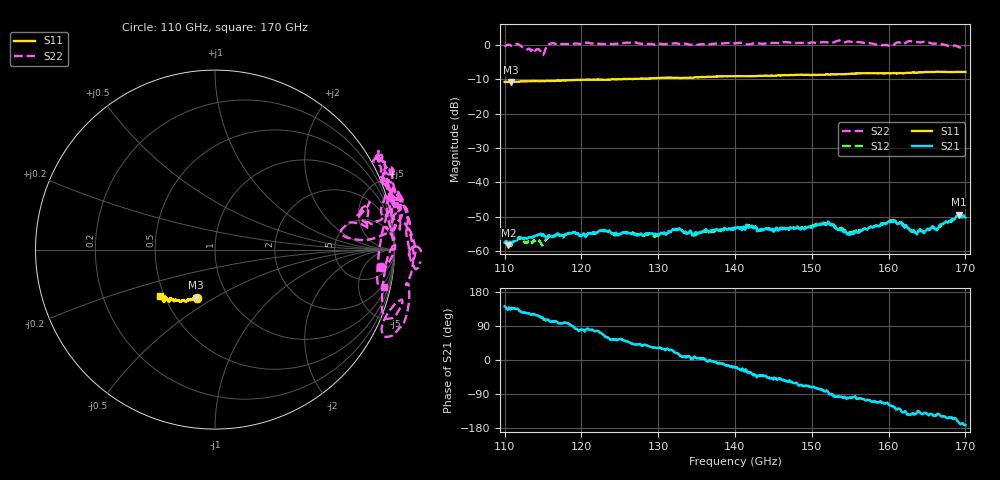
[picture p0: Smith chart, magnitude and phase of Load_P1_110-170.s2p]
!Keysight Technologies,N5247B,MY61256062,A.16.20.04
!Date: Wednesday, November 26, 2025 05:16:10
!Correction: S11(C  2-Port  )
!S21(C  2-Port  )
!S12(C  2-Port  )
!S22(C  2-Port  )
!S2P File: Measurements: S11, S21, S12, S22:
# Hz S  dB  R 50
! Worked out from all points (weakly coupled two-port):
!   1471 points, 110 GHz to 170 GHz, reference 50 ohm
!   highest |S21| = -49.37 dB at 169.1 GHz (marker M1); lowest = -58.3 dB at 110.5 GHz (marker M2)
!   lowest |S11| = -10.8 dB at 110.9 GHz (marker M3), VSWR 1.81, Z = 35.3 - j20.6 ohm
!   |S11| at or under -10 dB: start of sweep to 125.4 GHz
!   |S22| runs from -3.0 to 1.2 dB; largest |S21 - S12| = 0.0022
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1.1e11  -10.80 -110.8  -57.47 141.8  -57.89 109.6  -0.64 -5.9
1.104898e11  -10.78 -111.6  -58.25 134.9  -58.21 114.1  0.03 0.8
1.108571e11  -10.81 -111.9  -57.85 136.6  -58.53 114.6  -0.31 7.4
1.13551e11  -10.55 -112.9  -55.97 120.0  -57.54 109.6  -1.52 15.1
1.149388e11  -10.55 -113.4  -55.37 112.7  -58.27 93.6  -2.99 8.3
1.160408e11  -10.53 -113.6  -55.66 101.5  -55.63 86.8  0.39 9.5
1.2e11  -10.22 -115.3  -55.44 79.5  -55.32 68.7  0.19 19.4
1.275102e11  -9.89 -118.5  -55.30 41.1  -55.03 21.6  0.36 13.1
1.3e11  -9.67 -119.0  -55.21 32.9  -55.49 21.3  0.20 22.7
1.343673e11  -9.58 -121.8  -54.75 3.5  -55.03 -11.3  0.01 9.1
1.376327e11  -9.28 -123.7  -53.60 -7.8  -54.14 -13.1  0.33 29.0
1.4e11  -9.15 -124.7  -53.25 -20.3  -53.34 -23.5  0.38 28.4
1.5e11  -8.78 -130.3  -52.95 -71.5  -52.58 -84.5  0.68 23.2
1.531837e11  -8.65 -132.4  -53.48 -96.5  -52.93 -123.5  1.04 -5.5
1.576735e11  -8.31 -132.6  -52.81 -108.8  -52.91 -137.4  0.43 18.4
1.6e11  -8.29 -135.5  -51.36 -116.9  -51.50 -151.2  -0.26 -1.2
1.607755e11  -8.25 -136.4  -51.16 -123.9  -51.18 -164.6  0.17 -21.8
1.622857e11  -8.17 -136.4  -52.38 -139.5  -52.83 -177.8  0.63 -26.9
1.648163e11  -7.92 -134.4  -54.17 -139.3  -54.24 -178.3  0.88 -2.6
1.668571e11  -7.87 -135.6  -52.21 -148.9  -52.44 176.3  0.21 17.7
1.691429e11  -7.91 -139.3  -49.37 -164.9  -49.69 158.0  -0.73 1.6
1.7e11  -7.92 -140.3  -50.21 -172.2  -50.38 155.1  -0.31 -12.3
